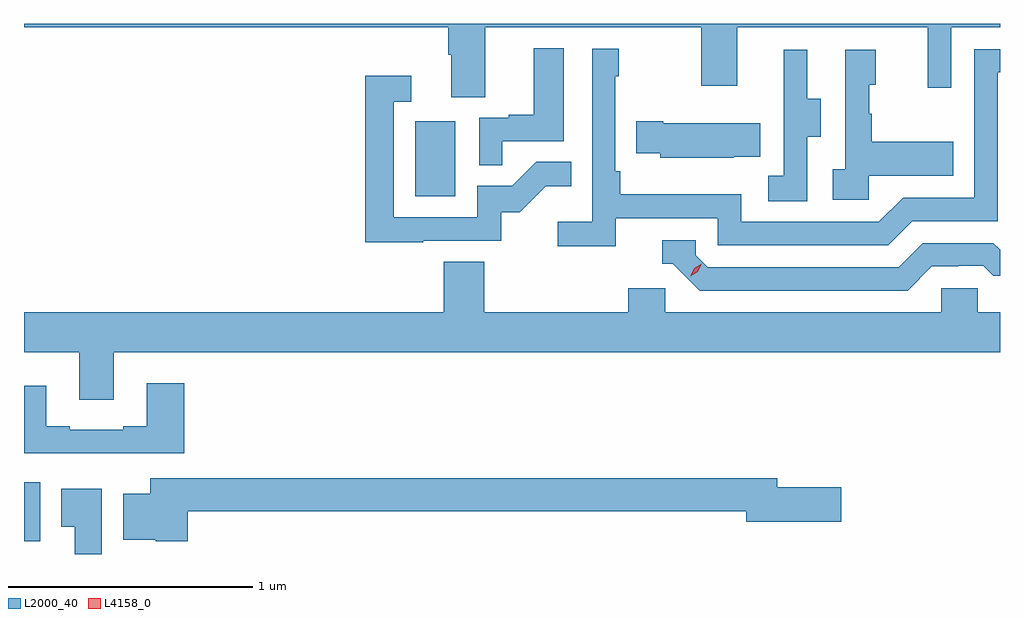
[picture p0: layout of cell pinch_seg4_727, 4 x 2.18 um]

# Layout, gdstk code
import gdstk
lib = gdstk.Library(unit=1e-6, precision=1e-09)
def R(c, l, rs):  # rectangles x0, y0, x1, y1
    for r in rs: c.add(gdstk.rectangle(r[:2], r[2:], *l))
def P(c, l, *ps):  # polygons
    for p in ps: c.add(gdstk.Polygon(p, *l))
L2000_40 = (2000, 40)
L4158_0 = (4158, 0)

pinch_seg4_727 = lib.new_cell('pinch_seg4_727')
R(pinch_seg4_727, L2000_40, [(828.828,830.678,828.895,830.92), (830.432,832.092,830.596,832.399)])
P(pinch_seg4_727, L2000_40, [(830.719,832.784),(831.604,832.784),(831.604,832.545),(831.751,832.545),(831.751,832.784),(832.532,832.784),(832.532,832.536),(832.629,832.536),(832.629,832.784),(832.828,832.784),(832.828,832.799),(828.828,832.799),(828.828,832.784),(830.567,832.784),(830.567,832.672),(830.579,832.672),(830.579,832.498),(830.719,832.498)],
  [(830.789,832.317),(831.04,832.317),(831.04,832.699),(830.918,832.699),(830.918,832.426),(830.815,832.426),(830.815,832.413),(830.694,832.413),(830.694,832.219),(830.789,832.219)],
  [(831.254,832.002),(831.672,832.002),(831.672,831.891),(832.369,831.891),(832.468,831.99),(832.818,831.99),(832.818,832.599),(832.828,832.599),(832.828,832.695),(832.722,832.695),(832.722,832.086),(832.431,832.086),(832.332,831.987),(831.768,831.987),(831.768,832.099),(831.272,832.099),(831.272,832.195),(831.252,832.195),(831.252,832.583),(831.265,832.583),(831.265,832.696),(831.156,832.696),(831.156,831.988),(831.015,831.988),(831.015,831.886),(831.254,831.886)],
  [(832.29,832.175),(832.637,832.175),(832.637,832.315),(832.303,832.315),(832.303,832.43),(832.293,832.43),(832.293,832.548),(832.318,832.548),(832.318,832.693),(832.194,832.693),(832.194,832.202),(832.143,832.202),(832.143,832.077),(832.29,832.077)],
  [(832.038,832.336),(832.093,832.336),(832.093,832.491),(832.039,832.491),(832.039,832.693),(831.941,832.693),(831.941,832.479),(831.942,832.479),(831.942,832.175),(831.879,832.175),(831.879,832.072),(832.038,832.072)],
  [(830.465,831.909),(830.784,831.909),(830.784,832.026),(830.86,832.026),(830.967,832.133),(831.071,832.133),(831.071,832.232),(830.928,832.232),(830.83,832.134),(830.685,832.134),(830.685,832.005),(830.343,832.005),(830.343,832.479),(830.416,832.479),(830.416,832.585),(830.227,832.585),(830.227,831.904),(830.465,831.904)],
  [(831.737,832.253),(831.845,832.253),(831.845,832.39),(831.448,832.39),(831.448,832.398),(831.337,832.398),(831.337,832.268),(831.435,832.268),(831.435,832.25),(831.737,832.25)],
  [(832.549,831.804),(832.656,831.804),(832.656,831.807),(832.759,831.807),(832.801,831.765),(832.828,831.765),(832.828,831.873),(832.801,831.9),(832.512,831.9),(832.413,831.801),(831.63,831.801),(831.582,831.849),(831.582,831.912),(831.443,831.912),(831.443,831.816),(831.486,831.816),(831.597,831.705),(832.45,831.705)],
  [(829.195,831.452),(832.828,831.452),(832.828,831.616),(832.737,831.616),(832.737,831.714),(832.587,831.714),(832.587,831.616),(831.456,831.616),(831.456,831.714),(831.305,831.714),(831.305,831.616),(830.714,831.616),(830.714,831.824),(830.549,831.824),(830.549,831.616),(828.828,831.616),(828.828,831.452),(829.055,831.452),(829.055,831.258),(829.195,831.258)],
  [(829.484,831.325),(829.331,831.325),(829.331,831.148),(829.235,831.148),(829.235,831.135),(829.015,831.135),(829.015,831.148),(828.919,831.148),(828.919,831.316),(828.828,831.316),(828.828,831.038),(829.484,831.038)],
  [(829.499,830.8),(831.788,830.8),(831.788,830.758),(832.177,830.758),(832.177,830.9),(831.916,830.9),(831.916,830.936),(829.346,830.936),(829.346,830.872),(829.235,830.872),(829.235,830.684),(829.368,830.684),(829.368,830.678),(829.499,830.678)],
  [(829.147,830.893),(828.98,830.893),(828.98,830.737),(829.037,830.737),(829.037,830.624),(829.147,830.624)])
P(pinch_seg4_727, L4158_0, [(831.559,831.763),(831.559,831.763),(831.574,831.796),(831.605,831.816),(831.605,831.816),(831.605,831.816),(831.59,831.783),(831.559,831.763)])

lib.write_gds('pinch_seg4_727.gds')
